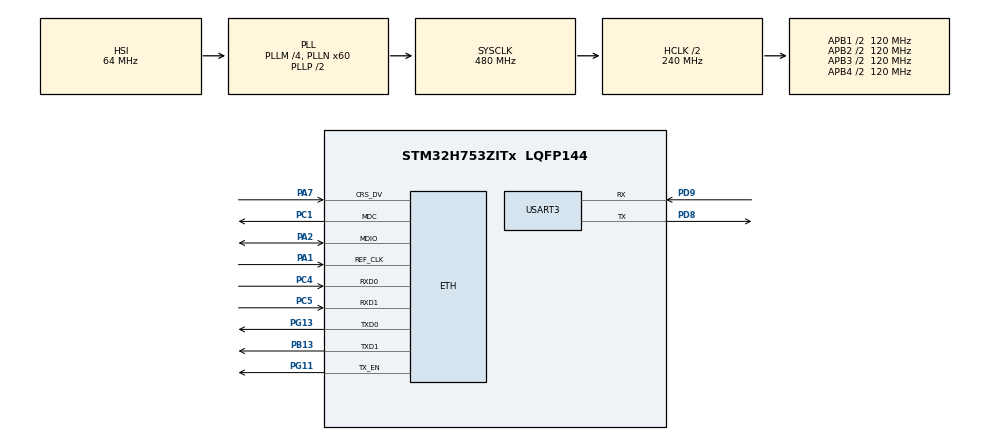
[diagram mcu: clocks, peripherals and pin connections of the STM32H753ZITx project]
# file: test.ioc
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CORTEX_M7.AccessPermission_Spec=MPU_REGION_FULL_ACCESS
CORTEX_M7.BaseAddress_Spec=0x30000000
CORTEX_M7.CPU_DCache=Enabled
CORTEX_M7.CPU_ICache=Enabled
CORTEX_M7.Size_Spec=MPU_REGION_SIZE_256KB
CORTEX_M7.SubRegionDisable_Spec=0x00
CORTEX_M7.TypeExtField_Spec=MPU_TEX_LEVEL1
CORTEX_M7.default_mode_Activation=1
Dma.Request0=USART3_TX
Dma.Request1=USART3_RX
Dma.USART3_RX.1.Direction=DMA_PERIPH_TO_MEMORY
Dma.USART3_RX.1.EventEnable=DISABLE
Dma.USART3_RX.1.FIFOMode=DMA_FIFOMODE_DISABLE
Dma.USART3_RX.1.Instance=DMA1_Stream1
Dma.USART3_RX.1.MemDataAlignment=DMA_MDATAALIGN_BYTE
Dma.USART3_RX.1.MemInc=DMA_MINC_ENABLE
Dma.USART3_RX.1.Mode=DMA_NORMAL
Dma.USART3_RX.1.PeriphDataAlignment=DMA_PDATAALIGN_BYTE
Dma.USART3_RX.1.PeriphInc=DMA_PINC_DISABLE
Dma.USART3_RX.1.Polarity=HAL_DMAMUX_REQ_GEN_RISING
Dma.USART3_RX.1.Priority=DMA_PRIORITY_LOW
Dma.USART3_RX.1.RequestNumber=1
Dma.USART3_RX.1.SignalID=NONE
Dma.USART3_RX.1.SyncEnable=DISABLE
Dma.USART3_RX.1.SyncPolarity=HAL_DMAMUX_SYNC_NO_EVENT
Dma.USART3_RX.1.SyncRequestNumber=1
Dma.USART3_RX.1.SyncSignalID=NONE
Dma.USART3_TX.0.Direction=DMA_MEMORY_TO_PERIPH
Dma.USART3_TX.0.EventEnable=DISABLE
Dma.USART3_TX.0.FIFOMode=DMA_FIFOMODE_DISABLE
Dma.USART3_TX.0.Instance=DMA1_Stream0
Dma.USART3_TX.0.MemDataAlignment=DMA_MDATAALIGN_BYTE
Dma.USART3_TX.0.MemInc=DMA_MINC_ENABLE
Dma.USART3_TX.0.Mode=DMA_NORMAL
Dma.USART3_TX.0.PeriphDataAlignment=DMA_PDATAALIGN_BYTE
Dma.USART3_TX.0.PeriphInc=DMA_PINC_DISABLE
Dma.USART3_TX.0.Polarity=HAL_DMAMUX_REQ_GEN_RISING
Dma.USART3_TX.0.Priority=DMA_PRIORITY_LOW
Dma.USART3_TX.0.RequestNumber=1
Dma.USART3_TX.0.SignalID=NONE
Dma.USART3_TX.0.SyncEnable=DISABLE
Dma.USART3_TX.0.SyncPolarity=HAL_DMAMUX_SYNC_NO_EVENT
Dma.USART3_TX.0.SyncRequestNumber=1
Dma.USART3_TX.0.SyncSignalID=NONE
ETH.MediaInterface=HAL_ETH_RMII_MODE
ETH.TxDescAddress=0x30000080
Mcu.Family=STM32H7
Mcu.Name=STM32H753ZITx
Mcu.Package=LQFP144
NVIC.DMA1_Stream0_IRQn=true\:0\:0\:false\:false\:true\:false\:true\:true
NVIC.DMA1_Stream1_IRQn=true\:0\:0\:false\:false\:true\:false\:true\:true
NVIC.ETH_IRQn=true\:15\:0\:true\:false\:true\:true\:true\:true
NVIC.PriorityGroup=NVIC_PRIORITYGROUP_4
NVIC.TIM6_DAC_IRQn=true\:5\:0\:true\:false\:true\:true\:true\:true
PA1.GPIO_Speed_Default_HIGH=GPIO_SPEED_FREQ_VERY_HIGH
PA1.Mode=RMII
PA1.Signal=ETH_REF_CLK
PA2.GPIO_Speed_Default_HIGH=GPIO_SPEED_FREQ_VERY_HIGH
PA2.Mode=RMII
PA2.Signal=ETH_MDIO
PA7.GPIO_Speed_Default_HIGH=GPIO_SPEED_FREQ_VERY_HIGH
PA7.Mode=RMII
PA7.Signal=ETH_CRS_DV
PB13.GPIO_Speed_Default_HIGH=GPIO_SPEED_FREQ_VERY_HIGH
PB13.Mode=RMII
PB13.Signal=ETH_TXD1
PC1.GPIO_Speed_Default_HIGH=GPIO_SPEED_FREQ_VERY_HIGH
PC1.Mode=RMII
PC1.Signal=ETH_MDC
PC4.GPIO_Speed_Default_HIGH=GPIO_SPEED_FREQ_VERY_HIGH
PC4.Mode=RMII
PC4.Signal=ETH_RXD0
PC5.GPIO_Speed_Default_HIGH=GPIO_SPEED_FREQ_VERY_HIGH
PC5.Mode=RMII
PC5.Signal=ETH_RXD1
PD8.Mode=Asynchronous
PD8.Signal=USART3_TX
PD9.Mode=Asynchronous
PD9.Signal=USART3_RX
PG11.GPIO_Speed_Default_HIGH=GPIO_SPEED_FREQ_VERY_HIGH
PG11.Mode=RMII
PG11.Signal=ETH_TX_EN
PG13.GPIO_Speed_Default_HIGH=GPIO_SPEED_FREQ_VERY_HIGH
PG13.Mode=RMII
PG13.Signal=ETH_TXD0
ProjectManager.HeapSize=0x200
ProjectManager.StackSize=0x400
ProjectManager.TargetToolchain=STM32CubeIDE
RCC.ADCFreq_Value=129000000
RCC.APB1Freq_Value=120000000
RCC.APB2Freq_Value=120000000
RCC.APB3Freq_Value=120000000
RCC.APB4Freq_Value=120000000
RCC.CortexFreq_Value=480000000
RCC.D1PPRE=RCC_APB3_DIV2
RCC.D2PPRE1=RCC_APB1_DIV2
RCC.D2PPRE2=RCC_APB2_DIV2
RCC.D3PPRE=RCC_APB4_DIV2
RCC.DIVM1=4
RCC.DIVN1=60
RCC.HCLKFreq_Value=240000000
RCC.HPRE=RCC_HCLK_DIV2
RCC.PLL2FRACN=0
RCC.PLL3FRACN=0
RCC.PLLFRACN=0
RCC.SYSCLKFreq_VALUE=480000000
RCC.SYSCLKSource=RCC_SYSCLKSOURCE_PLLCLK
RCC.USBFreq_Value=480000000
USART3.VirtualMode-Asynchronous=VM_ASYNC
VP_MEMORYMAP_VS_MEMORYMAP.Mode=CurAppReg
VP_RNG_VS_RNG.Mode=RNG_Activate
VP_TIM6_VS_ClockSourceINT.Mode=Enable_Timer
board=custom

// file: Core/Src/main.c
/* USER CODE BEGIN Header */
/**
  ******************************************************************************
  * @file           : main.c
  * @brief          : Main program body
  ******************************************************************************
  * @attention
  *
  * Copyright (c) 2026 STMicroelectronics.
  * All rights reserved.
  *
  * This software is licensed under terms that can be found in the LICENSE file
  * in the root directory of this software component.
  * If no LICENSE file comes with this software, it is provided AS-IS.
  *
  ******************************************************************************
  */
/* USER CODE END Header */
#include "main.h"
#include "string.h"

/* USER CODE BEGIN Includes */
#include "headers.h"

/* USER CODE END Includes */

#if defined ( __ICCARM__ ) /*!< IAR Compiler */
#pragma location=0x30000000
ETH_DMADescTypeDef  DMARxDscrTab[ETH_RX_DESC_CNT]; /* Ethernet Rx DMA Descriptors */
#pragma location=0x30000080
ETH_DMADescTypeDef  DMATxDscrTab[ETH_TX_DESC_CNT]; /* Ethernet Tx DMA Descriptors */

#elif defined ( __CC_ARM )  /* MDK ARM Compiler */

__attribute__((at(0x30000000))) ETH_DMADescTypeDef  DMARxDscrTab[ETH_RX_DESC_CNT]; /* Ethernet Rx DMA Descriptors */
__attribute__((at(0x30000080))) ETH_DMADescTypeDef  DMATxDscrTab[ETH_TX_DESC_CNT]; /* Ethernet Tx DMA Descriptors */

#elif defined ( __GNUC__ ) /* GNU Compiler */

ETH_DMADescTypeDef DMARxDscrTab[ETH_RX_DESC_CNT] __attribute__((section(".RxDescripSection"))); /* Ethernet Rx DMA Descriptors */
ETH_DMADescTypeDef DMATxDscrTab[ETH_TX_DESC_CNT] __attribute__((section(".TxDescripSection")));   /* Ethernet Tx DMA Descriptors */
#endif

ETH_TxPacketConfig TxConfig APP_DTCM_BSS;

ETH_HandleTypeDef heth APP_DTCM_BSS;

RNG_HandleTypeDef hrng;

TIM_HandleTypeDef htim6 APP_DTCM_BSS;

UART_HandleTypeDef huart3 APP_DTCM_BSS;
DMA_HandleTypeDef hdma_usart3_tx APP_DTCM_BSS;
DMA_HandleTypeDef hdma_usart3_rx APP_DTCM_BSS;

/* USER CODE BEGIN PV */
uint8_t RXbuffer[ETH_RX_DESC_CNT][APP_ETH_RX_BUFFER_SIZE] __attribute__((aligned(32))) __attribute__((section(".RxBufferSection")));
uint8_t TXbuffer[ETH_TX_DESC_CNT][APP_ETH_TX_BUFFER_SIZE] __attribute__((aligned(32))) __attribute__((section(".TxBufferSection")));
packetinf inf[ETH_RX_DESC_CNT] APP_DTCM_BSS;
tempips tempss;
uint32_t tim6time APP_DTCM_BSS = 0;
volatile uint32_t dwt_measurements[DWT_METRIC_COUNT][DWT_SAMPLE_CAPACITY] APP_DWT_BSS;
volatile uint16_t dwt_measurement_counts[DWT_METRIC_COUNT] APP_DWT_BSS;
volatile uint32_t dwt_measurement_dropped[DWT_METRIC_COUNT] APP_DWT_BSS;
volatile uint32_t dwt_packet_dropped APP_DWT_BSS;
volatile uint32_t dwt_measurement_enabled APP_DTCM_BSS;
_Static_assert(DWT_METRIC_COUNT == APP_DWT_CHANNELS, "DWT channel count mismatch");

const MAC_Addr_t MAC_BROADCAST = {{0xFF, 0xFF, 0xFF, 0xFF, 0xFF, 0xFF}};

/* USER CODE END PV */

void SystemClock_Config(void);
static void MPU_Config(void);
static void MX_GPIO_Init(void);
static void MX_DMA_Init(void);
static void MX_ETH_Init(void);
static void MX_USART3_UART_Init(void);
static void MX_RNG_Init(void);
static void MX_TIM6_Init(void);

int main(void)
{

  /* USER CODE BEGIN 1 */
	tempss = (tempips){
      .IPv4_add = { .addr = APP_DEVICE_IPV4_ADDRESS },

	};
  /* USER CODE END 1 */

  /* MPU Configuration--------------------------------------------------------*/
  MPU_Config();

  /* Enable the CPU Cache */

  /* Enable I-Cache---------------------------------------------------------*/
  SCB_EnableICache();

  /* Enable D-Cache---------------------------------------------------------*/
  SCB_EnableDCache();

  /* MCU Configuration--------------------------------------------------------*/

  /* Reset of all peripherals, Initializes the Flash interface and the Systick. */
  HAL_Init();

  /* Configure the system clock */
  SystemClock_Config();
  DWT_Init();

  /* Initialize all configured peripherals */
  MX_GPIO_Init();
  MX_DMA_Init();
  MX_ETH_Init();
  MX_USART3_UART_Init();
  MX_RNG_Init();
  TCP_Init();
  MX_TIM6_Init();
  /* USER CODE BEGIN 2 */
  memset(DMARxDscrTab, 0, sizeof(DMARxDscrTab));

  for(int i = 0; i < ETH_RX_DESC_CNT; i++)
  {
      DMARxDscrTab[i].DESC0 = (uint32_t)&RXbuffer[i][0];
      DMARxDscrTab[i].DESC1 = 0;
      DMARxDscrTab[i].DESC2 = 0;
      DMARxDscrTab[i].DESC3 = 0xC1000000;
  }

  for(int i =0; i < ETH_TX_DESC_CNT; i++)
  {
      DMATxDscrTab[i].DESC0 = 0;
      DMATxDscrTab[i].DESC1 = 0;
      DMATxDscrTab[i].DESC2 = 0;
      DMATxDscrTab[i].DESC3 = 0;
  }

  uint8_t startup_ok = 1;
  ETH_MACFilterConfigTypeDef FilterConf = {0};
  FilterConf.PromiscuousMode = 1;
  FilterConf.BroadcastFilter = 0;
  FilterConf.PassAllMulticast = 1;
  if (HAL_ETH_SetMACFilterConfig(&heth, &FilterConf) != HAL_OK)
  {
      startup_ok = 0;
  }

  HAL_NVIC_SetPriority(ETH_IRQn, 0, 0);
  HAL_NVIC_EnableIRQ(ETH_IRQn);

  if (HAL_ETH_Start_IT(&heth) != HAL_OK)
  {
      startup_ok = 0;
  }
  else
  {
      uint32_t errorCode = HAL_ETH_GetError(&heth);
      uint32_t dmaError = HAL_ETH_GetDMAError(&heth);
      if (errorCode != 0 || dmaError != 0)
      {
        startup_ok = 0;
      }
  }

  initarp();

  HAL_Delay(APP_STARTUP_DELAY_MS);
  /* USER CODE END 2 */

  /* Infinite loop */
  /* USER CODE BEGIN WHILE */
    if (HAL_TIM_Base_Start_IT(&htim6) != HAL_OK)
    {
      startup_ok = 0;
    }
    if (startup_ok)
    {
      writeline("Startup complete: all peripherals initialized");
    }
  while (1)
  {
	  console_process();

    /* USER CODE END WHILE */

  }
}

void SystemClock_Config(void)
{
  RCC_OscInitTypeDef RCC_OscInitStruct = {0};
  RCC_ClkInitTypeDef RCC_ClkInitStruct = {0};

  /** Supply configuration update enable
  */
  HAL_PWREx_ConfigSupply(PWR_LDO_SUPPLY);

  /** Configure the main internal regulator output voltage
  */
  __HAL_PWR_VOLTAGESCALING_CONFIG(PWR_REGULATOR_VOLTAGE_SCALE0);

  while(!__HAL_PWR_GET_FLAG(PWR_FLAG_VOSRDY)) {}

  /** Initializes the RCC Oscillators according to the specified parameters
  * in the RCC_OscInitTypeDef structure.
  */
  RCC_OscInitStruct.OscillatorType = RCC_OSCILLATORTYPE_HSI48|RCC_OSCILLATORTYPE_HSI;
  RCC_OscInitStruct.HSIState = RCC_HSI_DIV1;
  RCC_OscInitStruct.HSICalibrationValue = RCC_HSICALIBRATION_DEFAULT;
  RCC_OscInitStruct.HSI48State = RCC_HSI48_ON;
  RCC_OscInitStruct.PLL.PLLState = RCC_PLL_ON;
  RCC_OscInitStruct.PLL.PLLSource = RCC_PLLSOURCE_HSI;
  RCC_OscInitStruct.PLL.PLLM = 4;
  RCC_OscInitStruct.PLL.PLLN = 60;
  RCC_OscInitStruct.PLL.PLLP = 2;
  RCC_OscInitStruct.PLL.PLLQ = 2;
  RCC_OscInitStruct.PLL.PLLR = 2;
  RCC_OscInitStruct.PLL.PLLRGE = RCC_PLL1VCIRANGE_3;
  RCC_OscInitStruct.PLL.PLLVCOSEL = RCC_PLL1VCOWIDE;
  RCC_OscInitStruct.PLL.PLLFRACN = 0;
  if (HAL_RCC_OscConfig(&RCC_OscInitStruct) != HAL_OK)
  {
    Error_Handler();
  }

  /** Initializes the CPU, AHB and APB buses clocks
  */
  RCC_ClkInitStruct.ClockType = RCC_CLOCKTYPE_HCLK|RCC_CLOCKTYPE_SYSCLK
                              |RCC_CLOCKTYPE_PCLK1|RCC_CLOCKTYPE_PCLK2;
  RCC_ClkInitStruct.SYSCLKSource = RCC_SYSCLKSOURCE_PLLCLK;
  RCC_ClkInitStruct.SYSCLKDivider = RCC_SYSCLK_DIV1;
  RCC_ClkInitStruct.AHBCLKDivider = RCC_HCLK_DIV2;
  RCC_ClkInitStruct.APB3CLKDivider = RCC_APB3_DIV2;
  RCC_ClkInitStruct.APB1CLKDivider = RCC_APB1_DIV2;
  RCC_ClkInitStruct.APB2CLKDivider = RCC_APB2_DIV2;
  RCC_ClkInitStruct.APB4CLKDivider = RCC_APB4_DIV2;

  if (HAL_RCC_ClockConfig(&RCC_ClkInitStruct, FLASH_LATENCY_4) != HAL_OK)
  {
    Error_Handler();
  }
}

static void MX_ETH_Init(void)
{

  static uint8_t MACAddr[6] = APP_DEVICE_MAC_ADDRESS;

  heth.Instance = ETH;
  heth.Init.MACAddr = MACAddr;
  heth.Init.MediaInterface = HAL_ETH_RMII_MODE;
  heth.Init.TxDesc = DMATxDscrTab;
  heth.Init.RxDesc = DMARxDscrTab;
  heth.Init.RxBuffLen = APP_ETH_RX_BUFFER_SIZE;

  if (HAL_ETH_Init(&heth) != HAL_OK)
  {
    Error_Handler();
  }

  memset(&TxConfig, 0 , sizeof(ETH_TxPacketConfig));
  TxConfig.Attributes = ETH_TX_PACKETS_FEATURES_CSUM | ETH_TX_PACKETS_FEATURES_CRCPAD;
  TxConfig.ChecksumCtrl = ETH_CHECKSUM_IPHDR_PAYLOAD_INSERT_PHDR_CALC;
  TxConfig.CRCPadCtrl = ETH_CRC_PAD_INSERT;
  /* USER CODE BEGIN ETH_Init 2 */

  memset(&TxConfig, 0 , sizeof(ETH_TxPacketConfig));
  TxConfig.Attributes = ETH_TX_PACKETS_FEATURES_CSUM | ETH_TX_PACKETS_FEATURES_CRCPAD;
  TxConfig.ChecksumCtrl = ETH_CHECKSUM_IPHDR_PAYLOAD_INSERT_PHDR_CALC;
  TxConfig.CRCPadCtrl = ETH_CRC_PAD_INSERT;
  /* USER CODE END ETH_Init 2 */

}

static void MX_RNG_Init(void)
{

  hrng.Instance = RNG;
  hrng.Init.ClockErrorDetection = RNG_CED_ENABLE;
  if (HAL_RNG_Init(&hrng) != HAL_OK)
  {
    Error_Handler();
  }

}

static void MX_TIM6_Init(void)
{

  TIM_MasterConfigTypeDef sMasterConfig = {0};

  htim6.Instance = TIM6;
  htim6.Init.Prescaler = 23999;
  htim6.Init.CounterMode = TIM_COUNTERMODE_UP;
  htim6.Init.Period = 1999;
  htim6.Init.AutoReloadPreload = TIM_AUTORELOAD_PRELOAD_DISABLE;
  if (HAL_TIM_Base_Init(&htim6) != HAL_OK)
  {
    Error_Handler();
  }
  sMasterConfig.MasterOutputTrigger = TIM_TRGO_RESET;
  sMasterConfig.MasterSlaveMode = TIM_MASTERSLAVEMODE_DISABLE;
  if (HAL_TIMEx_MasterConfigSynchronization(&htim6, &sMasterConfig) != HAL_OK)
  {
    Error_Handler();
  }

}

static void MX_USART3_UART_Init(void)
{

  huart3.Instance = USART3;
  huart3.Init.BaudRate = 115200;
  huart3.Init.WordLength = UART_WORDLENGTH_8B;
  huart3.Init.StopBits = UART_STOPBITS_1;
  huart3.Init.Parity = UART_PARITY_NONE;
  huart3.Init.Mode = UART_MODE_TX_RX;
  huart3.Init.HwFlowCtl = UART_HWCONTROL_NONE;
  huart3.Init.OverSampling = UART_OVERSAMPLING_16;
  huart3.Init.OneBitSampling = UART_ONE_BIT_SAMPLE_DISABLE;
  huart3.Init.ClockPrescaler = UART_PRESCALER_DIV1;
  huart3.AdvancedInit.AdvFeatureInit = UART_ADVFEATURE_NO_INIT;
  if (HAL_UART_Init(&huart3) != HAL_OK)
  {
    Error_Handler();
  }
  if (HAL_UARTEx_SetTxFifoThreshold(&huart3, UART_TXFIFO_THRESHOLD_1_8) != HAL_OK)
  {
    Error_Handler();
  }
  if (HAL_UARTEx_SetRxFifoThreshold(&huart3, UART_RXFIFO_THRESHOLD_1_8) != HAL_OK)
  {
    Error_Handler();
  }
  if (HAL_UARTEx_DisableFifoMode(&huart3) != HAL_OK)
  {
    Error_Handler();
  }

}

static void MX_DMA_Init(void)
{

  /* DMA controller clock enable */
  __HAL_RCC_DMA1_CLK_ENABLE();

  /* DMA interrupt init */
  /* DMA1_Stream0_IRQn interrupt configuration */
  HAL_NVIC_SetPriority(DMA1_Stream0_IRQn, 0, 0);
  HAL_NVIC_EnableIRQ(DMA1_Stream0_IRQn);
  /* DMA1_Stream1_IRQn interrupt configuration */
  HAL_NVIC_SetPriority(DMA1_Stream1_IRQn, 0, 0);
  HAL_NVIC_EnableIRQ(DMA1_Stream1_IRQn);

}

static void MX_GPIO_Init(void)
{

  /* GPIO Ports Clock Enable */
  __HAL_RCC_GPIOC_CLK_ENABLE();
  __HAL_RCC_GPIOA_CLK_ENABLE();
  __HAL_RCC_GPIOB_CLK_ENABLE();
  __HAL_RCC_GPIOD_CLK_ENABLE();
  __HAL_RCC_GPIOG_CLK_ENABLE();

}

/* USER CODE BEGIN 4 */
void DWT_Init(void)
{
  dwt_measurement_enabled = 1U;
  for (unsigned int metric = 0; metric < DWT_METRIC_COUNT; metric++) {
    dwt_measurement_counts[metric] = 0;
    dwt_measurement_dropped[metric] = 0;
    for (unsigned int sample = 0; sample < DWT_SAMPLE_CAPACITY; sample++) {
      dwt_measurements[metric][sample] = 0;
    }
  }
  dwt_packet_dropped = 0;
  CoreDebug->DEMCR |= CoreDebug_DEMCR_TRCENA_Msk;
  DWT->CYCCNT = 0;
  DWT->CTRL |= DWT_CTRL_CYCCNTENA_Msk;
}

void DWT_RecordSample(DwtMetric metric, uint32_t cycles)
{
  if ((unsigned int)metric >= DWT_METRIC_COUNT) {
    return;
  }

  uint16_t count = dwt_measurement_counts[metric];
  if (count < DWT_SAMPLE_CAPACITY) {
    dwt_measurements[metric][count] = cycles;
    dwt_measurement_counts[metric] = count + 1;
  } else {
    dwt_measurements[metric][DWT_SAMPLE_CAPACITY - 1] = cycles;
    dwt_measurement_dropped[metric]++;
  }
}

void HAL_ETH_RxCpltCallback(ETH_HandleTypeDef *heth)
{
    uint32_t descidx = heth->RxDescList.RxDescIdx;
    ETH_DMADescTypeDef *dmarxdesc = &DMARxDscrTab[descidx];

    while ((dmarxdesc->DESC3 & 0x80000000) == 0)
    {

      uint32_t rx_status = dmarxdesc->DESC3;
      __DMB();
      uint16_t rx_length = rx_status & ETH_DMARXNDESCWBF_PL;
      ETHFrame *Frame = (ETHFrame *)&RXbuffer[descidx][0];

      inf[descidx].eth_pointer = Frame;
      inf[descidx].parsed_offset = sizeof(ETHFrame);
      inf[descidx].frame_length = rx_length;

      if ((rx_status & (ETH_DMARXNDESCWBF_FD | ETH_DMARXNDESCWBF_LD)) ==
          (ETH_DMARXNDESCWBF_FD | ETH_DMARXNDESCWBF_LD) &&
          rx_length >= sizeof(ETHFrame) && rx_length <= APP_ETH_RX_BUFFER_SIZE) {
        uint32_t dwt_start = DWT_START();
        switch(htons(Frame->ETHtype))
        {
          case 0x0806:
            if (rx_length >= sizeof(ETHFrame) + sizeof(arpheader)) {
              arp(&RXbuffer[descidx][sizeof(ETHFrame)]);
            }
            break;

          case 0x0800:
            packetHandler(descidx);
            break;

          case 0x88CC:
            break;

          default:
            break;
        }
        DWT_Record(DWT_METRIC_PACKET_TRANSACTION, DWT_STOP(dwt_start));
      }

		if(inf[descidx].bufflock == 0)
		{
    __DMB();
            dmarxdesc->DESC3 = 0xC1000000;
    __DMB();
    heth->Instance->DMACRDTPR = (uint32_t)dmarxdesc;
		}

        descidx = (descidx + 1) % ETH_RX_DESC_CNT;
        dmarxdesc = &DMARxDscrTab[descidx];
    }

    heth->RxDescList.RxDescIdx = descidx;
}

void HAL_TIM_PeriodElapsedCallback(TIM_HandleTypeDef *htim)
{
	if (htim->Instance == TIM6)
    {
        tim6time += 1;
        arp_aging();
        mac_table_aging();
        topology_aging();
		TCP_retrans();
        TCP_clean_table();
    }
}

bufferinf tcp_buff_lock[ETH_TX_DESC_CNT] APP_DTCM_BSS;
volatile uint32_t tx_buffer_exhausted_count APP_DTCM_BSS;
volatile uint32_t tx_hal_failure_count APP_DTCM_BSS;
static uint8_t tx_buffer_reserved[ETH_TX_DESC_CNT] APP_DTCM_BSS;
static int8_t NextBuff = 0;

static uint8_t TxBufferInUse(uint8_t index)
{
  for (int descriptor = 0; descriptor < ETH_TX_DESC_CNT; descriptor++) {
    if (heth.TxDescList.PacketAddress[descriptor] == (uint32_t *)TXbuffer[index]) {
      return 1;
    }
  }
  return 0;
}

static uint8_t GetTxBuff_impl(void)
{
    uint8_t Sindex = NextBuff;

    while(1)
    {
        if (!tx_buffer_reserved[NextBuff] && !tcp_buff_lock[NextBuff].is_locked &&
          !TxBufferInUse(NextBuff))
        {
            uint8_t idxr = NextBuff;
          tx_buffer_reserved[idxr] = 1;
            NextBuff = (NextBuff + 1) % ETH_TX_DESC_CNT;
            return idxr;
        }

        NextBuff = (NextBuff + 1) % ETH_TX_DESC_CNT;

        if (NextBuff == Sindex)
        {
          __atomic_fetch_add(&tx_buffer_exhausted_count, 1U, __ATOMIC_RELAXED);
            return 255;
        }
    }
}

uint8_t GetTxBuff(void)
{
  uint32_t dwt_start = DWT_START();
  uint32_t primask = __get_PRIMASK();
  __disable_irq();
  uint8_t index = GetTxBuff_impl();
  __set_PRIMASK(primask);
  DWT_Record(DWT_METRIC_TX_BUFFER_SEARCH, DWT_STOP(dwt_start));
  return index;
}

void ReleaseTxBuff(uint8_t index)
{
    if (index >= ETH_TX_DESC_CNT) {
        return;
    }
    uint32_t primask = __get_PRIMASK();
    __disable_irq();
    tx_buffer_reserved[index] = 0;
    __set_PRIMASK(primask);
}

void Transmit(uint16_t len, uint8_t TXBuffIndex)
{
  uint32_t dwt_start = DWT_START();
    static ETH_BufferTypeDef tx_buffer;
    if (TXBuffIndex >= ETH_TX_DESC_CNT) {
      return;
    }
    uint32_t primask = __get_PRIMASK();
    __disable_irq();

    if (tx_buffer_reserved[TXBuffIndex] && tcp_buff_lock[TXBuffIndex].is_locked) {
      IPv4header *ip = (IPv4header *)&TXbuffer[TXBuffIndex][sizeof(ETHFrame)];
      uint16_t ip_header_len = (ip->Ver_IHL & 0x0FU) * 4U;
      TCP *tcp = (TCP *)((uint8_t *)ip + ip_header_len);
      uint16_t tcp_header_len = ((htons(tcp->doffResFlag) >> 12) & 0x0FU) * 4U;
      uint16_t payload_len = htons(ip->TotalLenght) - ip_header_len - tcp_header_len;
      tcp_buff_lock[TXBuffIndex].seq_num = htonl(tcp->seqNumber);
      tcp_buff_lock[TXBuffIndex].seq_end = tcp_buff_lock[TXBuffIndex].seq_num + payload_len +
          GET_TCP_FLAG(tcp->doffResFlag, TCP_FLAG_SYN) + GET_TCP_FLAG(tcp->doffResFlag, TCP_FLAG_FIN);
    }

    if (TxBufferInUse(TXBuffIndex)) {
      tx_buffer_reserved[TXBuffIndex] = 0;
      __set_PRIMASK(primask);
      DWT_Record(DWT_METRIC_TX_START, DWT_STOP(dwt_start));
      return;
    }

    tx_buffer.buffer = TXbuffer[TXBuffIndex];
    tx_buffer.len = len;
    tx_buffer.next = NULL;

    TxConfig.Length = len;
    TxConfig.TxBuffer = &tx_buffer;
    TxConfig.pData = TXbuffer[TXBuffIndex];

    if (HAL_ETH_Transmit_IT(&heth, &TxConfig) != HAL_OK) {
      __atomic_fetch_add(&tx_hal_failure_count, 1U, __ATOMIC_RELAXED);
    }
    tx_buffer_reserved[TXBuffIndex] = 0;
    __set_PRIMASK(primask);
  DWT_Record(DWT_METRIC_TX_START, DWT_STOP(dwt_start));
}

void HAL_ETH_TxCpltCallback(ETH_HandleTypeDef *heth)
{
    HAL_ETH_ReleaseTxPacket(heth);
}

/* USER CODE END 4 */

 /* MPU Configuration */

void MPU_Config(void)
{
  MPU_Region_InitTypeDef MPU_InitStruct = {0};

  /* Disables the MPU */
  HAL_MPU_Disable();

  /** Initializes and configures the Region and the memory to be protected
  */
  MPU_InitStruct.Enable = MPU_REGION_ENABLE;
  MPU_InitStruct.Number = MPU_REGION_NUMBER0;
  MPU_InitStruct.BaseAddress = 0x30000000;
  MPU_InitStruct.Size = MPU_REGION_SIZE_256KB;
  MPU_InitStruct.SubRegionDisable = 0x00;
  MPU_InitStruct.TypeExtField = MPU_TEX_LEVEL1;
  MPU_InitStruct.AccessPermission = MPU_REGION_FULL_ACCESS;
  MPU_InitStruct.DisableExec = MPU_INSTRUCTION_ACCESS_DISABLE;
  MPU_InitStruct.IsShareable = MPU_ACCESS_SHAREABLE;
  MPU_InitStruct.IsCacheable = MPU_ACCESS_NOT_CACHEABLE;
  MPU_InitStruct.IsBufferable = MPU_ACCESS_NOT_BUFFERABLE;

  HAL_MPU_ConfigRegion(&MPU_InitStruct);
  /* Enables the MPU */
  HAL_MPU_Enable(MPU_PRIVILEGED_DEFAULT);

}

void Error_Handler(void)
{
  __disable_irq();
  while (1)
  {
  }
}
